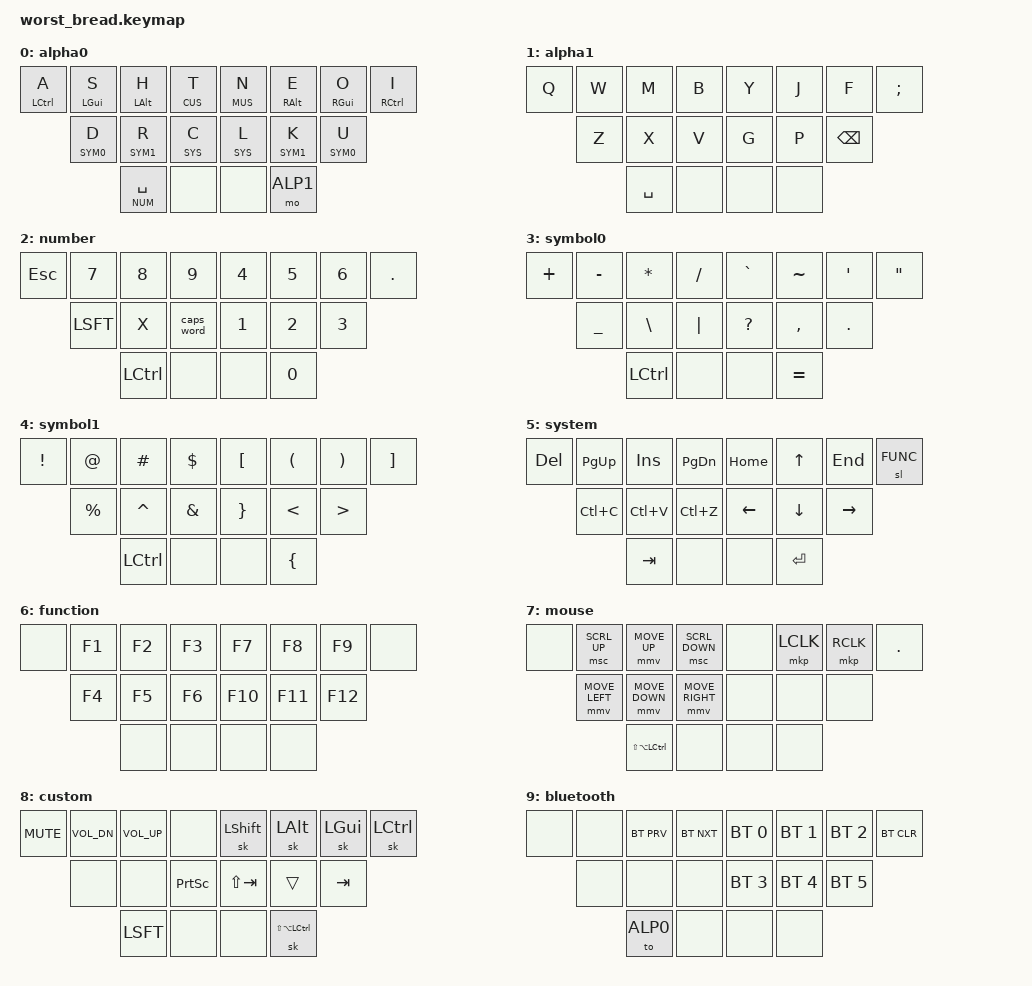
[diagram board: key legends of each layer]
#include <behaviors.dtsi>
#include <dt-bindings/zmk/keys.h>
#include <dt-bindings/zmk/bt.h>
#include <dt-bindings/zmk/mouse.h>
#include <behaviors/mouse_keys.dtsi>

/* layers */
#define ALP0 0
#define ALP1 1
#define NUM  2
#define SYM0 3
#define SYM1 4
#define SYS  5
#define FUNC 6
#define MUS  7
#define CUS  8
#define BT   9

/* === mouse support setting start === */
// mouse move settings
// #define ZMK_MOUSE_DEFAULT_MOVE_VAL 800                     /* <--- New max speed setting (default: 800) */
&mmv {
    acceleration-exponent = <1>;
	time-to-max-speed-ms = <500>;             /* <--- How long time until max speed is reached (default: 500) */
    delay-ms = <0>;
};

// mouse wheel settings
// #define ZMK_MOUSE_DEFAULT_SCRL_VAL 20                    /* <--- New max speed setting (default: 10) */
&msc {
    // acceleration-exponent = <1>;
    time-to-max-speed-ms = <500>;                 /* <--- How long time until max speed is reached */
    // delay-ms = <0>;
};
/* === mouse support setting end === */

&lt {
    quick_tap_ms = <200>;
    flavor = "tap-preferred";
};
&sk {
    release-after-ms = <3000>;
    // quick-release;
};
&sl {
    release-after-ms = <2000>;
    // quick-release;
};

/ {
    combos {
        compatible = "zmk,combos";
        combo_to_bt {
            timeout-ms = <10>;
            key-positions = <2 3>;
            bindings = <&to BT>;
            layers = <SYS>;
        };
        combo_bspc {
            timeout-ms = <20>;
            key-positions = <11 12>;
            bindings = <&kp BSPC>;
            layers = <ALP0 ALP1 NUM>;
        };
        combo_caps {
            timeout-ms = <20>;
            key-positions = <4 5 6>;
            bindings = <&kp CAPS>;
            layers = <ALP0>;
        };
        combo_sk_shift {
            timeout-ms = <20>;
            key-positions = <1 2 3>;
            bindings = <&sk LSHIFT>;
            layers = <ALP0 ALP1>;
        };
        combo_key_repeat {
            timeout-ms = <20>;
            key-positions = <8 9 10>;
            bindings = <&key_repeat>;
            layers = <ALP0>;
        };
    };

    behaviors {
        tw: type_write {
            compatible = "zmk,behavior-hold-tap";
            label = "TYPE_WRITE";
            #binding-cells = <2>;
            tapping-term-ms = <200>;
            quick_tap_ms = <250>;
            bindings = <&mo>, <&kp>;
            hold-trigger-key-positions = <0 1 2 3 4 5 6 7 8 9 10 11 12 13>;
        };
        hm: homerow_mod {
            compatible = "zmk,behavior-hold-tap";
            label = "HOMEROW_MOD";
            #binding-cells = <2>;
            tapping-term-ms = <300>;
            quick_tap_ms = <250>;
            flavor = "tap-preferred";
            bindings = <&kp>, <&kp>;
        };
        hl: homerow_layer {
            compatible = "zmk,behavior-hold-tap";
            label = "HOMEROW_LAYER";
            #binding-cells = <2>;
            tapping-term-ms = <220>;
            quick_tap_ms = <250>;
            flavor = "tap-preferred";
            bindings = <&mo>, <&kp>;
        };
    };

    keymap {
        compatible = "zmk,keymap";

        alpha0 {
            bindings = <
            &hm LCTL A      &hm LGUI S      &hm LALT H      &hl CUS T       &hl MUS N       &hm RALT E      &hm RGUI O     &hm RCTL I
                            &hl SYM0 D      &hl SYM1 R      &hl SYS C       &hl SYS L       &hl SYM1 K      &hl SYM0 U
                                            &lt NUM SPC     &none           &none           &mo ALP1
            >;
        };

        alpha1 {
            bindings = <
            &kp Q           &kp W           &kp M           &kp B           &kp Y           &kp J           &kp F         &kp SEMI
                            &kp Z           &kp X           &kp V           &kp G           &kp P           &kp BSPC
                                            &kp SPC         &none           &none           &none
            >;
        };

        number {
            bindings = <
            &kp ESC         &kp N7          &kp N8          &kp N9          &kp N4          &kp N5          &kp N6          &kp DOT
                            &kp LSFT        &kp X           &caps_word      &kp N1          &kp N2          &kp N3
                                            &kp LCTRL       &none           &none           &kp N0
            >;
        };

        symbol0 {
            bindings = <
            &kp PLUS        &kp MINUS       &kp STAR        &kp FSLH        &kp GRAVE       &kp TILDE       &kp SQT         &kp DQT
                            &kp UNDER       &kp BSLH        &kp PIPE        &kp QMARK       &kp COMMA       &kp DOT
                                            &kp LCTRL       &none           &none           &kp EQUAL
            >;
        };

        symbol1 {
            bindings = <
            &kp EXCL        &kp AT          &kp HASH        &kp DLLR        &kp LBKT        &kp LPAR        &kp RPAR        &kp RBKT
                            &kp PRCNT       &kp CARET       &kp AMPS        &kp RBRC        &kp LT          &kp GT
                                            &kp LCTRL       &none           &none           &kp LBRC
            >;
        };

        system {
            bindings = <
            &kp DEL         &kp PG_UP       &kp INS         &kp PG_DN       &kp HOME        &kp UP          &kp END         &sl FUNC
                            &kp LC(C)       &kp LC(V)       &kp LC(Z)       &kp LEFT        &kp DOWN        &kp RIGHT
                                            &kp TAB         &none           &none           &kp ENTER
            >;
        };

        function {
            bindings = <
            &none           &kp F1          &kp F2          &kp F3          &kp F7          &kp F8          &kp F9          &none
                            &kp F4          &kp F5          &kp F6          &kp F10         &kp F11         &kp F12
                                            &none           &none           &none           &none
            >;
        };

        mouse {
            bindings = <
            &none           &msc SCRL_UP    &mmv MOVE_UP    &msc SCRL_DOWN   &none           &mkp LCLK       &mkp RCLK       &kp DOT
                            &mmv MOVE_LEFT  &mmv MOVE_DOWN  &mmv MOVE_RIGHT  &none           &none           &none
                                            &kp LS(LA(LCTRL))    &none       &none           &none
            >;
        };

        custom {
            bindings = <
            &kp C_MUTE      &kp C_VOL_DN    &kp C_VOL_UP    &none           &sk LSHIFT      &sk LALT        &sk LGUI        &sk LCTRL
                            &none           &none           &kp PSCRN       &kp LS(TAB)     &trans          &kp TAB
                                            &kp LSFT        &none           &none           &sk LS(LA(LCTRL))
            >;
        };

        bluetooth {
            bindings = <
            &none           &none           &bt BT_PRV      &bt BT_NXT      &bt BT_SEL 0    &bt BT_SEL 1    &bt BT_SEL 2    &bt BT_CLR
                            &none           &none           &none           &bt BT_SEL 3    &bt BT_SEL 4    &bt BT_SEL 5
                                            &to ALP0        &none           &none           &none
            >;
        };
    };
};

